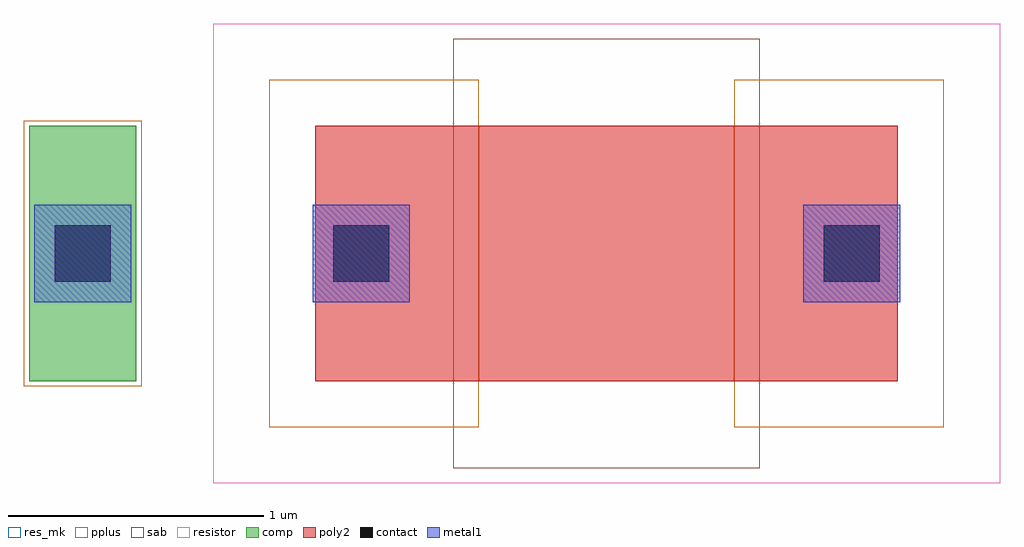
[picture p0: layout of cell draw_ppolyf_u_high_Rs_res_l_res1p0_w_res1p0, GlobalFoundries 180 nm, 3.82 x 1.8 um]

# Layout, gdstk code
import gdstk
lib = gdstk.Library(unit=1e-6, precision=1e-09)
def R(c, l, rs):  # rectangles x0, y0, x1, y1
    for r in rs: c.add(gdstk.rectangle(r[:2], r[2:], *l))
comp = (22, 0)
poly2 = (30, 0)
pplus = (31, 0)
contact = (33, 0)
metal1 = (34, 0)
sab = (49, 0)
resistor = (62, 0)
res_mk = (110, 5)

draw_ppolyf_u_high_rs_re = lib.new_cell('draw_ppolyf_u_high_Rs_res_l_res1p0_w_res1p0')
R(draw_ppolyf_u_high_rs_re, comp, [(-1.76,0,-1.34,1)])
R(draw_ppolyf_u_high_rs_re, poly2, [(-0.64,0,1.64,1)])
R(draw_ppolyf_u_high_rs_re, pplus, [(-0.82,-0.18,0,1.18), (1,-0.18,1.82,1.18), (-1.78,-0.02,-1.32,1.02)])
R(draw_ppolyf_u_high_rs_re, contact, [(-1.66,0.39,-1.44,0.61), (-0.57,0.39,-0.35,0.61), (1.35,0.39,1.57,0.61)])
R(draw_ppolyf_u_high_rs_re, metal1, [(-1.74,0.31,-1.36,0.69), (-0.65,0.31,-0.27,0.69), (1.27,0.31,1.65,0.69)])
R(draw_ppolyf_u_high_rs_re, sab, [(-0.1,-0.34,1.1,1.34)])
R(draw_ppolyf_u_high_rs_re, resistor, [(-1.04,-0.4,2.04,1.4)])
R(draw_ppolyf_u_high_rs_re, res_mk, [(0,0,1,1)])

lib.write_gds('draw_ppolyf_u_high_Rs_res_l_res1p0_w_res1p0.gds')
